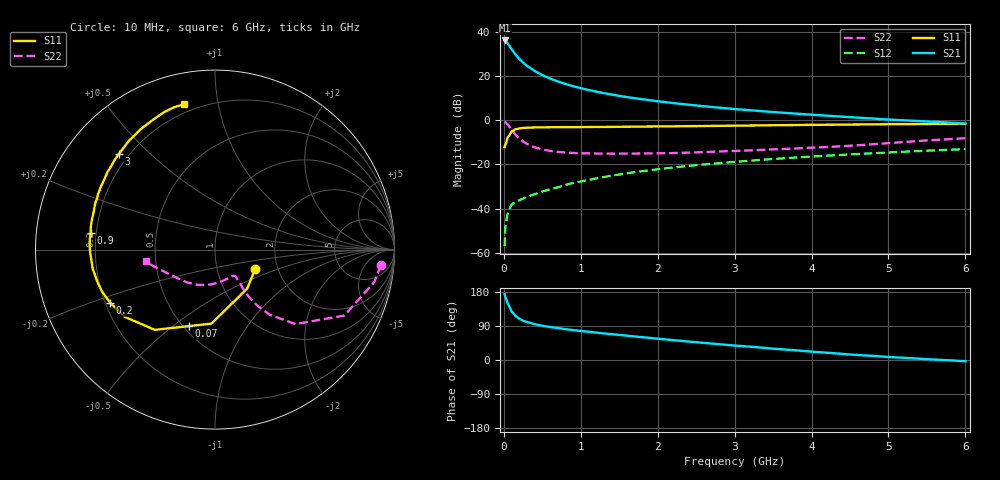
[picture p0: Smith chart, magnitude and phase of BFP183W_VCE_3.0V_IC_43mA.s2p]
! Infineon Technologies  Discrete & RF Semiconductors
! BFP183W
! VCE =  3.0 V,  IC =  43 mA
! Common Emitter S-Parameters:  Jan 2017
# GHz  S  MA  R  50
!  f  S11  S21  S12  S22
! GHz  MAG  ANG  MAG  ANG  MAG  ANG  MAG  ANG
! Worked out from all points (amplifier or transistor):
!   77 points, 10 MHz to 6 GHz, reference 50 ohm
!   highest |S21| = 36.2 dB at 10 MHz (marker M1)
!   |S21| within 3 dB of that: start of sweep to 82.03 MHz
!   unconditionally stable (mu >= 1): 588.1 MHz to 3.483 GHz
!   at 130 MHz: K = 0.42, MSG = 34.2 dB, |S12| = -37.5 dB
!   at 2.2 GHz: K = 1.10, MAG = 12.7 dB, |S12| = -21.4 dB
!   at 6 GHz: K = 0.88, MSG = 5.8 dB, |S12| = -13.1 dB
!   S11 on the Smith chart (normalised r, x): 10 MHz: 1.52, -0.36; 70 MHz: 0.53, -0.57; 200 MHz: 0.22, -0.23; 900 MHz: 0.18, +0.06; 3 GHz: 0.16, +0.40; 6 GHz: 0.15, +0.80
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0.01  0.2491 -26.3  64.63 173.8  0.0014 93.1  0.9288 -5.4
0.02  0.2819 -50.6  63.11 166.4  0.0038 87.6  0.906 -11.5
0.05  0.413 -92.8  55.57 148.5  0.0077 63.9  0.8092 -27.0
0.07  0.4509 -109.0  49.19 141.8  0.0094 58.9  0.7243 -32.2
0.1  0.5593 -126.9  41.35 128.2  0.0121 54.2  0.6121 -42.7
0.15  0.6268 -143.3  31.36 116.6  0.0143 46.9  0.474 -50.0
0.2  0.6549 -153.1  24.78 109.0  0.0154 48.7  0.3881 -53.0
0.25  0.6715 -159.7  20.37 103.8  0.0168 48.7  0.3312 -54.2
0.3  0.6791 -164.5  17.21 100.1  0.0184 49.0  0.2916 -54.5
0.4  0.6895 -171.1  13.16 94.4  0.0211 54.1  0.2439 -53.8
0.5  0.6919 -175.7  10.59 90.4  0.0242 56.4  0.2185 -53.1
0.6  0.6963 -179.3  8.874 87.1  0.0273 58.3  0.2023 -52.8
0.7  0.6988 177.8  7.611 84.3  0.0302 61.6  0.192 -52.5
0.9  0.6989 172.5  5.926 79.0  0.0379 63.7  0.182 -53.6
1.1  0.7047 168.1  4.875 74.6  0.0444 65.9  0.1784 -55.6
1.5  0.7126 160.3  3.583 66.2  0.0589 66.2  0.1752 -62.3
2.1  0.7279 149.4  2.583 54.4  0.0813 64.8  0.1795 -77.3
3  0.7556 135.2  1.8 38.1  0.114 60.0  0.2023 -103.4
3.1  0.7582 133.8  1.745 36.7  0.1177 59.4  0.2048 -106.2
4.1  0.7905 120.3  1.307 20.6  0.1544 53.0  0.2433 -133.0
5.1  0.8167 109.9  1.02 6.9  0.19 45.9  0.3118 -157.3
6  0.8282 102.1  0.849 -3.2  0.2225 39.1  0.3922 -170.3
